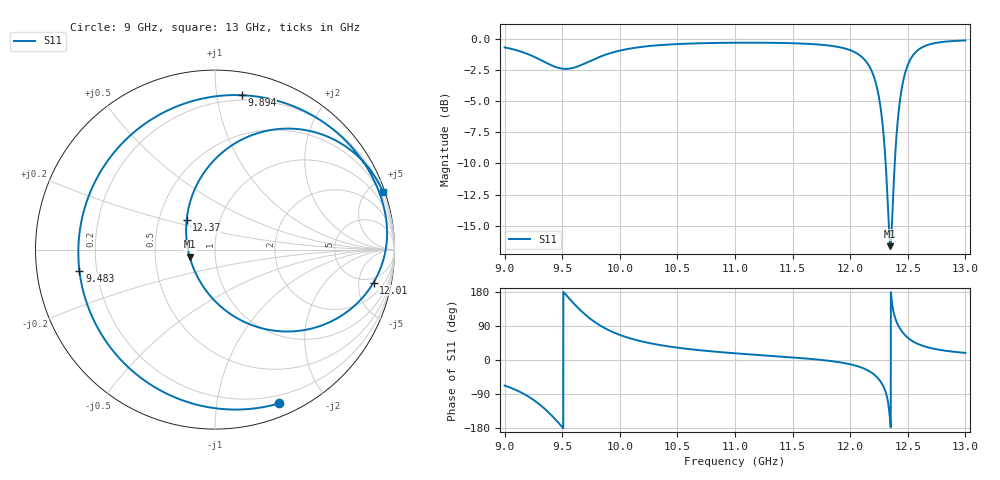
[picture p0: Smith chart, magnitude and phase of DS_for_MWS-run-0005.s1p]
! TOUCHSTONE file generated by CST DESIGN STUDIO
! Date and time: Tue Feb  4 17:24:09 2025
! Project name: C:\Work\MatlabApps\UnitCellOptimizationMatlab\CST\unitcell.cst
! Tree item: Tasks\Sweep1\SPara1\S-Parameters
! Header version: 2024
! Port assignment regex: !\s*Touchstone port\s*([0-9]+)\s*=\s*(CST MWS port|CST DES external port|CST DES block port)\s*(.+)\s* \(\"(.*)\"\)(\s*mode\s*([0-9]+))?.*
! Touchstone port assignment:
! Touchstone port 1 = CST DES external port 1 ("")
# GHz S MA R 50
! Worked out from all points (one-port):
!   4001 points, 9 GHz to 13 GHz, reference 50 ohm
!   lowest |S11| = -16.7 dB at 12.35 GHz (marker M1), VSWR 1.34, Z = 37.5 - j3.07 ohm
!   |S11| at or under -10 dB: 12.31 GHz to 12.39 GHz (78.46 MHz wide, 0.635 % of centre)
!   S11 on the Smith chart (normalised r, x): 9 GHz: 0.12, -1.49; 9.483 GHz: 0.13, -0.08; 9.894 GHz: 0.16, +1.17; 12.01 GHz: 3.92, -7.75; 12.37 GHz: 0.69, +0.24; 13 GHz: 0.19, +6.04
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9  0.9284 -67.4
9.158  0.8878 -88.0
9.272  0.8441 -109.8
9.373  0.7996 -135.8
9.483  0.7646 -171.0
9.5  0.7622 -176.8
9.586  0.7659 153.9
9.693  0.7989 121.6
9.785  0.8351 99.7
9.894  0.8731 80.2
10  0.901 66.2
10.216  0.936 47.3
10.5  0.9575 32.6
11  0.9696 17.7
11.5  0.965 6.8
12  0.9049 -11.3
12.007  0.9022 -11.8
12.151  0.7993 -27.0
12.25  0.583 -51.3
12.3  0.36 -77.8
12.348  0.1468 -164.2
12.372  0.2299 133.4
12.401  0.4038 101.8
12.433  0.5722 82.5
12.5  0.7887 58.7
12.575  0.8946 44.2
12.67  0.9488 33.7
13  0.9901 18.8
